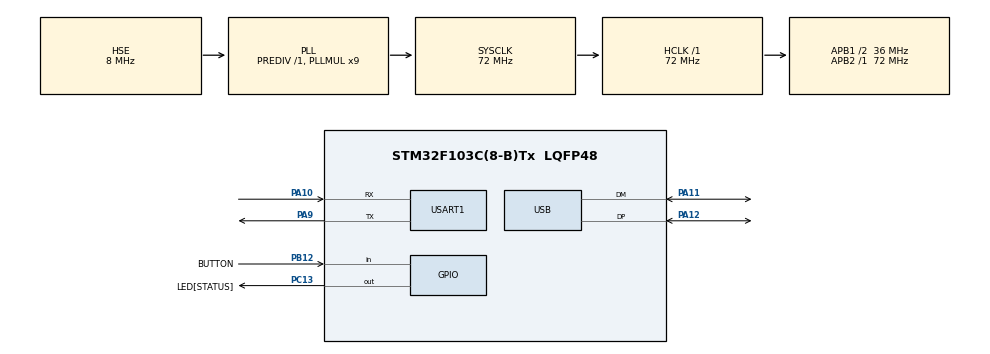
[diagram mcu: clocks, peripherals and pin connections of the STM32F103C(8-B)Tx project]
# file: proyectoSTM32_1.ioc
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Mcu.Family=STM32F1
Mcu.Name=STM32F103C(8-B)Tx
Mcu.Package=LQFP48
NVIC.PriorityGroup=NVIC_PRIORITYGROUP_4
NVIC.TIM1_UP_IRQn=true\:0\:0\:false\:false\:true\:true\:true\:true
NVIC.USART1_IRQn=true\:0\:0\:false\:false\:true\:true\:true\:true
NVIC.USB_LP_CAN1_RX0_IRQn=true\:0\:0\:false\:false\:true\:true\:true\:true
PA10.Mode=Asynchronous
PA10.Signal=USART1_RX
PA11.Mode=Device
PA11.Signal=USB_DM
PA12.Mode=Device
PA12.Signal=USB_DP
PA13.Mode=Serial_Wire
PA13.Signal=SYS_JTMS-SWDIO
PA14.Mode=Serial_Wire
PA14.Signal=SYS_JTCK-SWCLK
PA9.Mode=Asynchronous
PA9.Signal=USART1_TX
PB12.GPIO_Label=BUTTON
PB12.GPIO_PuPd=GPIO_PULLUP
PB12.Signal=GPIO_Input
PC13-TAMPER-RTC.GPIO_Label=LED[STATUS]
PC13-TAMPER-RTC.PinState=GPIO_PIN_SET
PC13-TAMPER-RTC.Signal=GPIO_Output
PC14-OSC32_IN.Mode=LSE-External-Oscillator
PC14-OSC32_IN.Signal=RCC_OSC32_IN
PC15-OSC32_OUT.Mode=LSE-External-Oscillator
PC15-OSC32_OUT.Signal=RCC_OSC32_OUT
PD0-OSC_IN.Mode=HSE-External-Oscillator
PD0-OSC_IN.Signal=RCC_OSC_IN
PD1-OSC_OUT.Mode=HSE-External-Oscillator
PD1-OSC_OUT.Signal=RCC_OSC_OUT
ProjectManager.HeapSize=0x200
ProjectManager.StackSize=0x400
ProjectManager.TargetToolchain=STM32CubeIDE
RCC.AHBFreq_Value=72000000
RCC.APB1CLKDivider=RCC_HCLK_DIV2
RCC.APB1Freq_Value=36000000
RCC.APB1TimFreq_Value=72000000
RCC.APB2Freq_Value=72000000
RCC.APB2TimFreq_Value=72000000
RCC.HCLKFreq_Value=72000000
RCC.PLLMUL=RCC_PLL_MUL9
RCC.PLLSourceVirtual=RCC_PLLSOURCE_HSE
RCC.SYSCLKFreq_VALUE=72000000
RCC.SYSCLKSource=RCC_SYSCLKSOURCE_PLLCLK
RCC.USBFreq_Value=48000000
RCC.USBPrescaler=RCC_USBCLKSOURCE_PLL_DIV1_5
TIM1.Period=250
TIM1.Prescaler=71
USART1.VirtualMode=VM_ASYNC
USB_DEVICE.APP_RX_DATA_SIZE=256
USB_DEVICE.APP_TX_DATA_SIZE=256
USB_DEVICE.CLASS_NAME_FS=CDC
USB_DEVICE.PID_CDC_FS=0x5740
USB_DEVICE.VirtualMode=Cdc
USB_DEVICE.VirtualModeFS=Cdc_FS
VP_TIM1_VS_ClockSourceINT.Mode=Internal
VP_USB_DEVICE_VS_USB_DEVICE_CDC_FS.Mode=CDC_FS
board=custom

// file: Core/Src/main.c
/* USER CODE BEGIN Header */
/**
  ******************************************************************************
  * @file           : main.c
  * @brief          : Main program body
  ******************************************************************************
  * @attention
  *
  * Copyright (c) 2024 STMicroelectronics.
  * All rights reserved.
  *
  * This software is licensed under terms that can be found in the LICENSE file
  * in the root directory of this software component.
  * If no LICENSE file comes with this software, it is provided AS-IS.
  *
  ******************************************************************************
  */
/* USER CODE END Header */
#include "main.h"
#include "usb_device.h"

/* USER CODE BEGIN Includes */

#include <stdbool.h>
#include <string.h>
#include "usbd_cdc_if.h"
//#include "mbed.h"
//#include "wifi.h"
//#include "config.h"

/* USER CODE END Includes */

/* USER CODE BEGIN PTD */

typedef union {
    struct {
        uint8_t b0:1;
        uint8_t b1:1;
        uint8_t b2:1;
        uint8_t b3:1;
        uint8_t b4:1;
        uint8_t b5:1;
        uint8_t b6:1;
        uint8_t b7:1;
    } bit;
    uint8_t byte;
}_uFlag;

typedef union {
    uint8_t     u8[4];
    int8_t      i8[4];
    uint16_t    u16[2];
    int16_t     i16[2];
    uint32_t    u32;
    int32_t     i32;
    float       f;
}_work;

typedef enum{
    START,
    HEADER_1,
    HEADER_2,
    HEADER_3,
    NBYTES,
    TOKEN,
    PAYLOAD
}_eProtocol;

typedef struct{
    //uint8_t timeOut;         //!< TiemOut para reiniciar la máquina si se interrumpe la comunicación
    uint8_t indexStart;      //!< Indice para saber en que parte del buffer circular arranca el ID
    uint8_t cheksumRx;       //!< Cheksumm RX
    uint8_t indexWriteRx;    //!< Indice de escritura del buffer circular de recepción
    uint8_t indexReadRx;     //!< Indice de lectura del buffer circular de recepción
    uint8_t indexWriteTx;    //!< Indice de escritura del buffer circular de transmisión
    uint8_t indexReadTx;     //!< Indice de lectura del buffer circular de transmisión
    uint8_t bufferRx[256];   //!< Buffer circular de recepción
    uint8_t bufferTx[256];   //!< Buffer circular de transmisión
}_sDato ;

typedef enum{
	USART,
	WIFI,
	USB_MICRO
}_eCommunicationProtocols;

typedef enum{
    ACK=0x0D,
    GETALIVE=0xF0,
    STARTCONFIG=0xEE,
    FIRMWARE=0xF1,
    LEDS=0x10,
    PULSADORES=0x12,
    SERVO = 0xA2,
    ULTRASONIDO = 0xA3,
    SEGUIDORES_LINEA = 0xA0,
    TEST_MOTORES = 0xA1,
    VELOCIDAD_MOTORES = 0xA4,
    SETMINMAXSERVO = 0xA5,
    SETSENSORSBLACK = 0xA6,
    SETSENSORSWHITE = 0xA7,
    GETSERVOANGLE = 0xA8,
    OTHERS
}_eID;

//wifiData myWifiData;

typedef enum {
    EV_PRESSED=0,
    EV_NOT_PRESSED=1,
    EV_NONE=2
}_eButtonEvent;

typedef enum {
        UP,
        DOWN,
        FALLING,
        RISING
}_eButtonsStatus;

typedef struct {
    _eButtonsStatus    	estado;
    _eButtonEvent       event;
    uint32_t            timePush;
    uint32_t            timeDiff;
} _sButton;

typedef enum {
    ONESECOND = 0,
    THREESECONDS = 1
}_eLedStatus;

typedef enum {
    WORKING = 1,
    RESTING = 0
}_eCarStatus;

typedef enum {
    IDLE = 0,
    MODE1 = 1,
    MODE2 = 2,
    MODE3 = 3
}_eCarMode;

/* USER CODE END PTD */

/* USER CODE BEGIN PD */

#define THREESECONDSINTERVAL        29
#define ONESECONDINTERVAL           9

#define NUMBUTTONS                  1

#define RINGBUFFLENGTH              256
#define POSID                       4
#define POSDATA                     5

#define	LEDMODE                     myFlags0.bit.b0
#define CARSTATUS                  	myFlags0.bit.b1

#define EQ5000MS					20000
#define EQ3000MS					12000
#define EQ1000MS					4000
#define EQ100MS						400					//TIM1 250us por cuenta, que equivale a 0,25 ms, entonces 400 cuentas -> 100ms
#define EQ20MS						80

//
/* USER CODE END PD */

TIM_HandleTypeDef htim1;

UART_HandleTypeDef huart1;

/* USER CODE BEGIN PV */

uint8_t		mode;
uint8_t		HBintervalWidth;
uint16_t	time100ms;
uint8_t		time20ms;
uint32_t 	mask;

uint8_t 	posicionComand;
_eProtocol 	protocolStatus;
_sDato 		datosComSerie, datosComWifi, datosComUSB;
//Wifi 		myWifi(datosComWifi.bufferRx,&datosComWifi.indexWriteRx, sizeof(datosComWifi.bufferRx));

_uFlag		myFlags0;
_sButton 	myButtons[NUMBUTTONS];

/* USER CODE END PV */

void SystemClock_Config(void);
static void MX_GPIO_Init(void);
static void MX_TIM1_Init(void);
static void MX_USART1_UART_Init(void);
/* USER CODE BEGIN PFP */

void heartBeat();
void ledStatus();
void imAlive();

void buttonsStatus(_sButton *buttons, uint8_t index);
void inicializaButtons(_sButton *buttons);
void debounceTask();

void decodeProtocol(_sDato *);
void decodeData(_sDato *, uint8_t COMAND);
void communicationTask(_sDato *datosCom, uint8_t source);
void autoConnectWifi(void);
void USBReceive(uint8_t *buf, uint16_t len);	//Misma estructura que el puntero a funcion creado en usbd_cdc_if.h

//int Decode(uint8_t index);
//void decodeData(uint8_t comand);

/* USER CODE END PFP */

/* USER CODE BEGIN 0 */
void HAL_TIM_PeriodElapsedCallback(TIM_HandleTypeDef *htim){
	if(htim->Instance == TIM1){
		if (time100ms)
			time100ms--;
		if (time20ms)
			time20ms--;
		if (myButtons[0].timePush < EQ5000MS)
			myButtons[0].timePush++;
	}
}

void USBReceive(uint8_t *buf, uint16_t len){
	memcpy(&datosComUSB.bufferRx[datosComUSB.indexWriteRx], buf, len);
	datosComUSB.indexWriteRx += len;
}

void HAL_UART_RxCpltCallback(UART_HandleTypeDef *huart){
	if(huart->Instance==USART1){
		datosComSerie.indexWriteRx++;
		HAL_UART_Receive_IT(&huart1, &datosComSerie.bufferRx[datosComSerie.indexWriteRx], 1);
	}
}

void heartBeat() {
	static uint8_t move=0;	//Ultima modificacion
	if ((~mask) & (1<<move)) {
		HAL_GPIO_WritePin(LED_GPIO_Port, LED_Pin, 1);
	} else {
		HAL_GPIO_WritePin(LED_GPIO_Port, LED_Pin, 0);	//Prende el led
	}
	move++;
	if (move > HBintervalWidth)
		move = 0;
}

void ledStatus() {
    switch (mode) {
        case 0:
            HBintervalWidth = THREESECONDSINTERVAL;
            mask = 0x55555555;
            break;
        case 1:
            if (LEDMODE == THREESECONDS) {
                if (CARSTATUS) {
                    HBintervalWidth = THREESECONDSINTERVAL;
                    mask = 0x5F;
                } else {
                    HBintervalWidth = THREESECONDSINTERVAL;
                    mask = 1;
                }
            } else {
                HBintervalWidth = ONESECONDINTERVAL;
                mask = 1;
            }
            break;
        case 2:
            if (LEDMODE == THREESECONDS) {
                if (CARSTATUS) {
                    HBintervalWidth = THREESECONDSINTERVAL;
                    mask = 0x15F;
                } else {
                    HBintervalWidth = THREESECONDSINTERVAL;
                    mask = 5;
                }
            } else {
                HBintervalWidth = ONESECONDINTERVAL;
                mask = 5;
            }
            break;
        case 3:
            if (LEDMODE == THREESECONDS) {
                if (CARSTATUS) {
                    HBintervalWidth = THREESECONDSINTERVAL;
                    mask = 0x55F;
                } else {
                    HBintervalWidth = THREESECONDSINTERVAL;
                    mask = 21;
                }
            } else {
                HBintervalWidth = ONESECONDINTERVAL;
                mask = 21;
            }
    }
}

void imAlive() {
	//decodeData(&datosComSerie, GETALIVE);
	//decodeData(&datosComUSB, GETALIVE);
}

void buttonsStatus(_sButton *buttons, uint8_t index) {
    switch(buttons->estado){
        case UP:
            if (buttons->event == EV_PRESSED) {
                buttons->estado = FALLING;
            }
        break;
        case DOWN:
            if (buttons->event == EV_NOT_PRESSED) {
                buttons->estado = RISING;
            } else {
				if ((CARSTATUS == WORKING) && (buttons->timePush > EQ3000MS)) { // SE DETIENE EL MODO, LED EN PERIODO DE 3 SEGUNDOS. MAS DE 3000ms
					LEDMODE = THREESECONDS;
					CARSTATUS = RESTING;
					ledStatus();
				} else {
					if (buttons->timePush >= EQ5000MS) { // SE VUELVE AL PERIODO DE 3 SEGUNDOS Y SE CANCELA EL INICIO. MAS DE 5000ms
						LEDMODE = THREESECONDS;
						ledStatus();
					} else {
						if (buttons->timePush > EQ1000MS) { // SE MANTIENE PRESIONADO EL BOTON POR MAS DE UN SEGUNDO, EMPIEZA SECUENCIA DE 1 SEG. MAS DE 1000ms
							LEDMODE = ONESECOND;
							ledStatus();
						}
					}
				}
            }
        break;
        case FALLING:
            if (buttons->event == EV_PRESSED) {
                buttons->estado = DOWN;
                buttons->timePush = 0; // SE INICIA EL CRONOMETRO DE PULSADO
            } else {
                buttons->estado = UP;
            }
        break;
        case RISING:
            if (buttons->event == EV_NOT_PRESSED) {
                buttons->estado = UP;
                if ((CARSTATUS == RESTING) && (buttons->timePush >= EQ100MS)) { // HACE ALGO SOLO SI SE SUELTA EL BOTON PRESIONANDOLO POR MAS DE 100 MS
                    if (buttons->timePush <= EQ1000MS) { // SI SE SUELTA ENTRE 100MS Y 1000MS SE CAMBIA DE MODO
                        mode++;
                        if (mode == MODE3+1) {
                            mode = IDLE;
                        }
                        LEDMODE = THREESECONDS;
                        ledStatus();
                    } else {
                        if ((buttons->timePush < EQ5000MS) && (mode != IDLE)) { // SI EL MODO DEL AUTO NO ES IDLE SE INICIA EL MODO SELECCIONADO Y SE PONE EL LED EN MODO ON. MENOS DE 5000ms
                            LEDMODE = THREESECONDS;
                            CARSTATUS = WORKING;
                            ledStatus();
                        }
                    }
                } else {
                    if (buttons->timePush <= EQ3000MS) { // SI NO SE SUELTA DESPUES DE LOS 3000 MS SE VUELVE A TRABAJAR
                        LEDMODE = THREESECONDS;
                        ledStatus();
                    }
                }
            } else {
                buttons->estado = DOWN;
            }
        break;
    }
}

void inicializaButtons(_sButton *buttons) {
    buttons->estado = UP;
    buttons->timePush = EQ5000MS;
    buttons->event = EV_NONE;
}

void debounceTask() {
    for (uint8_t index = 0; index < NUMBUTTONS; index++){
        if (HAL_GPIO_ReadPin(BUTTON_GPIO_Port, BUTTON_Pin) & (1 << index)){
            myButtons[index].event = EV_NOT_PRESSED;
        } else {
            myButtons[index].event = EV_PRESSED;
        }
        buttonsStatus(&myButtons[index], index);
    }
}

void decodeProtocol(_sDato *datosCom) {
    static uint8_t nBytes=0;
    uint8_t indexWriteRxCopy=datosCom->indexWriteRx;

    while (datosCom->indexReadRx!=indexWriteRxCopy) {
        switch (protocolStatus) {
            case START:
                if (datosCom->bufferRx[datosCom->indexReadRx++]=='U'){
                    protocolStatus=HEADER_1;
                    datosCom->cheksumRx=0;
                }
                break;
            case HEADER_1:
                if (datosCom->bufferRx[datosCom->indexReadRx++]=='N')
                    protocolStatus=HEADER_2;
                else{
                    datosCom->indexReadRx--;
                    protocolStatus=START;
                }
                break;
            case HEADER_2:
                if (datosCom->bufferRx[datosCom->indexReadRx++]=='E')
                    protocolStatus=HEADER_3;
                else{
                    datosCom->indexReadRx--;
                    protocolStatus=START;
                }
                break;
			case HEADER_3:
				if (datosCom->bufferRx[datosCom->indexReadRx++]=='R')
					protocolStatus=NBYTES;
				else{
					datosCom->indexReadRx--;
					protocolStatus=START;
				}
				break;
            case NBYTES:
                datosCom->indexStart=datosCom->indexReadRx; // 4 posiciones mas adelante tenes el ID en nuestro caso, por los datos del numero de auto y uno mas
                posicionComand = datosCom->indexStart + POSID;
                nBytes=datosCom->bufferRx[datosCom->indexReadRx++];
                protocolStatus=TOKEN;
                break;
            case TOKEN:
                if (datosCom->bufferRx[datosCom->indexReadRx++]==':'){
                    protocolStatus=PAYLOAD;
                    datosCom->cheksumRx ='U'^'N'^'E'^'R'^nBytes^':';
                }
                else{
                    datosCom->indexReadRx--;
                    protocolStatus=START;
                }
                break;
            case PAYLOAD:
                if (nBytes>1){
                    datosCom->cheksumRx ^= datosCom->bufferRx[datosCom->indexReadRx++];
                }
                nBytes--;
                if(nBytes<=0){
                    protocolStatus=START;
                    if(datosCom->cheksumRx == datosCom->bufferRx[datosCom->indexReadRx]){
                        decodeData(datosCom, datosCom->bufferRx[posicionComand]); //!< PASO LA ESTRUCTURA DATOSCOM Y PASO EL COMANDO
                    }
                }
                break;
            default:
                protocolStatus = START;
                break;
        }
    }
}

void decodeData(_sDato *datosCom, uint8_t COMAND) {
    //wifiData *wifidataPtr;
    //uint8_t *ptr;
    uint8_t auxBuffTx[50], indiceAux=0, cheksum, sizeWifiData, indexBytesToCopy=0, numBytesToCopy=0;
    uint8_t QtAngle = 0, configModo = 0;  //i = 0
    _work w;

    auxBuffTx[indiceAux++]='U';
    auxBuffTx[indiceAux++]='N';
    auxBuffTx[indiceAux++]='E';
    auxBuffTx[indiceAux++]='R';
    auxBuffTx[indiceAux++]=0;
    auxBuffTx[indiceAux++]=':';
    auxBuffTx[indiceAux++]=0x0C;    //!< NUMERO DE AUTO
    auxBuffTx[indiceAux++]=0x00;    //!< PARA COMPLETAR EL UINT16

    switch (COMAND) { // NO BORRAR EL _sDato *datosCom de la funcion ya que se usa en el startconfig, agregar el comand solamente
        case GETALIVE:
            auxBuffTx[indiceAux++]=GETALIVE;
            auxBuffTx[indiceAux++]=ACK;
            auxBuffTx[NBYTES]=0x05;
            break;
        case STARTCONFIG: //Inicia Configuración del wifi
//            auxBuffTx[indiceAux++]=STARTCONFIG;
//            auxBuffTx[indiceAux++]=ACK;
//            auxBuffTx[NBYTES]=0x05;
//            myWifi.resetWifi();
//            sizeWifiData =sizeof(myWifiData);
//            indexBytesToCopy=datosCom->indexStart+POSDATA;
//            wifidataPtr=&myWifiData;
//            if ((RINGBUFFLENGTH - indexBytesToCopy)<sizeWifiData){
//                numBytesToCopy=RINGBUFFLENGTH-indexBytesToCopy;
//                memcpy(wifidataPtr,&datosCom->bufferRx[indexBytesToCopy], numBytesToCopy);
//                indexBytesToCopy+=numBytesToCopy;
//                sizeWifiData-=numBytesToCopy;
//                ptr= (uint8_t *)wifidataPtr + numBytesToCopy;
//                memcpy(ptr,&datosCom->bufferRx[indexBytesToCopy], sizeWifiData);
//            }else{
//                memcpy(&myWifiData,&datosCom->bufferRx[indexBytesToCopy], sizeWifiData);
//            }
//            myWifi.configWifi(&myWifiData);
            break;
        case FIRMWARE:

            break;
        case LEDS:

            break;
        case PULSADORES:
            auxBuffTx[indiceAux++]=PULSADORES;
            auxBuffTx[indiceAux++]=myButtons[0].event;
            auxBuffTx[NBYTES]=0x05;
            break;
        case SERVO:
//            if (!movingServo) {
//                QtAngle = datosCom->bufferRx[posicionComand + 1];
//                moverServo(QtAngle);
//                auxBuffTx[indiceAux++] = SERVO;
//                auxBuffTx[indiceAux++] = 0x0D;
//                auxBuffTx[NBYTES] = 0x05;
//            } else {
//                auxBuffTx[indiceAux++] = SERVO;
//                auxBuffTx[indiceAux++] = 0x0A;
//                auxBuffTx[NBYTES] = 0x05;
//            }
            break;
        case GETSERVOANGLE:
//            auxBuffTx[indiceAux++] = GETSERVOANGLE;
//            auxBuffTx[indiceAux++] = lastAngle;
//            auxBuffTx[NBYTES] = 0x05;
            break;
        case SETMINMAXSERVO:
//            configModo = datosCom->bufferRx[posicionComand + 1];
//            if (configModo) {
//                w.u8[0] = datosCom->bufferRx[posicionComand + 2];
//                w.u8[1] = datosCom->bufferRx[posicionComand + 3];
//                maxMsServo = w.u16[0];
//                w.u8[0] = datosCom->bufferRx[posicionComand + 4];
//                w.u8[1] = datosCom->bufferRx[posicionComand + 5];
//                minMsServo = w.u16[0];
//            }
//            w.u16[0] = maxMsServo;
//            auxBuffTx[indiceAux++] = SETMINMAXSERVO;
//            auxBuffTx[indiceAux++] = w.u8[0];
//            auxBuffTx[indiceAux++] = w.u8[1];
//            w.u16[0] = minMsServo;
//            auxBuffTx[indiceAux++] = w.u8[0];
//            auxBuffTx[indiceAux++] = w.u8[1];
//            auxBuffTx[NBYTES] = 0x08;
            break;
        case ULTRASONIDO:
//            w.u32 = distancia;
//            auxBuffTx[indiceAux++] = ULTRASONIDO;
//            auxBuffTx[indiceAux++] = w.u8[0];
//            auxBuffTx[indiceAux++] = w.u8[1];
//            auxBuffTx[indiceAux++] = w.u8[2];
//            auxBuffTx[indiceAux++] = w.u8[3];
//            auxBuffTx[NBYTES] = 0x08;
            break;
        case SEGUIDORES_LINEA:
//            auxBuffTx[indiceAux++] = SEGUIDORES_LINEA;
//            w.u16[0] = irSensor[0].currentValue;
//            auxBuffTx[indiceAux++] = w.u8[0];
//            auxBuffTx[indiceAux++] = w.u8[1];
//            w.u16[0] = irSensor[1].currentValue;
//            auxBuffTx[indiceAux++] = w.u8[0];
//            auxBuffTx[indiceAux++] = w.u8[1];
//            w.u16[0] = irSensor[2].currentValue;
//            auxBuffTx[indiceAux++] = w.u8[0];
//            auxBuffTx[indiceAux++] = w.u8[1];
//            auxBuffTx[NBYTES]=0x0A;
            break;
        case SETSENSORSBLACK:
//            configModo = datosCom->bufferRx[posicionComand + 1];
//            if (configModo) {
//                w.u8[0] = datosCom->bufferRx[posicionComand + 2];
//                w.u8[1] = datosCom->bufferRx[posicionComand + 3];
//                irSensor[0].blackValue = w.u16[0];
//                w.u8[0] = datosCom->bufferRx[posicionComand + 4];
//                w.u8[1] = datosCom->bufferRx[posicionComand + 5];
//                irSensor[1].blackValue = w.u16[0];
//                w.u8[0] = datosCom->bufferRx[posicionComand + 6];
//                w.u8[1] = datosCom->bufferRx[posicionComand + 7];
//                irSensor[2].blackValue = w.u16[0];
//            }
//            w.u16[0] = irSensor[0].blackValue;
//            auxBuffTx[indiceAux++] = SETSENSORSBLACK;
//            auxBuffTx[indiceAux++] = w.u8[0];
//            auxBuffTx[indiceAux++] = w.u8[1];
//            w.u16[0] = irSensor[1].blackValue;
//            auxBuffTx[indiceAux++] = w.u8[0];
//            auxBuffTx[indiceAux++] = w.u8[1];
//            w.u16[0] = irSensor[2].blackValue;
//            auxBuffTx[indiceAux++] = w.u8[0];
//            auxBuffTx[indiceAux++] = w.u8[1];
//            auxBuffTx[NBYTES] = 0x0A;
            break;
        case SETSENSORSWHITE:
//            configModo = datosCom->bufferRx[posicionComand + 1];
//            if (configModo) {
//                w.u8[0] = datosCom->bufferRx[posicionComand + 2];
//                w.u8[1] = datosCom->bufferRx[posicionComand + 3];
//                irSensor[0].whiteValue = w.u16[0];
//                w.u8[0] = datosCom->bufferRx[posicionComand + 4];
//                w.u8[1] = datosCom->bufferRx[posicionComand + 5];
//                irSensor[1].whiteValue = w.u16[0];
//                w.u8[0] = datosCom->bufferRx[posicionComand + 6];
//                w.u8[1] = datosCom->bufferRx[posicionComand + 7];
//                irSensor[2].whiteValue = w.u16[0];
//            }
//            w.u16[0] = irSensor[0].whiteValue;
//            auxBuffTx[indiceAux++] = SETSENSORSWHITE;
//            auxBuffTx[indiceAux++] = w.u8[0];
//            auxBuffTx[indiceAux++] = w.u8[1];
//            w.u16[0] = irSensor[1].whiteValue;
//            auxBuffTx[indiceAux++] = w.u8[0];
//            auxBuffTx[indiceAux++] = w.u8[1];
//            w.u16[0] = irSensor[2].whiteValue;
//            auxBuffTx[indiceAux++] = w.u8[0];
//            auxBuffTx[indiceAux++] = w.u8[1];
//            auxBuffTx[NBYTES] = 0x0A;
            break;
        case TEST_MOTORES:
//            auxBuffTx[indiceAux++] = TEST_MOTORES;
//            auxBuffTx[indiceAux++] = 0x0D;
//            auxBuffTx[NBYTES] = 0x05;
//            for (uint8_t i=1; i<5; i++) {
//                w.i8[i-1] = datosCom->bufferRx[posicionComand + i];
//            }
//            engines.RMPOWER = w.i32;
//            for (uint8_t i=5; i<9; i++) {
//                w.i8[i-5] = datosCom->bufferRx[posicionComand + i];
//            }
//            engines.LMPOWER = w.i32;
//            setEnginesPower(SELECTBOTHMOTORS, FREEWHEEL);
            break;
        case VELOCIDAD_MOTORES:
//            auxBuffTx[indiceAux++] = VELOCIDAD_MOTORES;
//            w.u32 = rightPulseSum;
//            for (uint8_t i=0; i<4; i++) {
//                auxBuffTx[indiceAux++] = w.u8[i];
//            }
//            w.u32 = leftPulseSum;
//            for (uint8_t i=0; i<4; i++) {
//                auxBuffTx[indiceAux++] = w.u8[i];
//            }
//            auxBuffTx[NBYTES] = 0x0C;
            break;

        default:
            auxBuffTx[indiceAux++]=0xFF;
            auxBuffTx[NBYTES]=0x04;
            break;
    }
    cheksum=0;
    for(uint8_t a=0 ; a<indiceAux ;a++) {
        cheksum ^= auxBuffTx[a];
        datosCom->bufferTx[datosCom->indexWriteTx++] = auxBuffTx[a];
    }
        datosCom->bufferTx[datosCom->indexWriteTx++] = cheksum;
}

void communicationTask(_sDato *datosCom, uint8_t source){
    if(datosCom->indexReadRx!=datosCom->indexWriteRx ){
        decodeProtocol(datosCom);
    }
    if(datosCom->indexReadTx!=datosCom->indexWriteTx){
    	switch (source) {
			case USART:
				if(__HAL_UART_GET_FLAG(&huart1, UART_FLAG_TXE)){
					USART1->DR = datosCom->bufferTx[datosCom->indexReadTx++];
					//HAL_UART_Transmit_IT(&huart1, &datosCom->bufferTx[datosCom->indexReadTx++], 1); //La anterior linea hace lo mismo
					//HAL_UART_Transmit(&huart1, &datosCom->bufferTx[datosCom->indexReadTx++], 1, 0);
				}
				break;
			case WIFI:
				// myWifi.writeWifiData(&datosCom->bufferTx[datosCom->indexReadTx++],1);
				break;
			case USB_MICRO:
				//CDC_Transmit_FS(&rxUSBData, 1);
				if(CDC_Transmit_FS(&datosCom->bufferTx[datosCom->indexReadTx], 1) == USBD_OK)
					datosCom->indexReadTx++;
				break;
			default:
				break;
		}
    }
}

void autoConnectWifi(){
//    #ifdef AUTOCONNECTWIFI
//        memcpy(&myWifiData.cwmode, dataCwmode, sizeof(myWifiData.cwmode));
//        memcpy(&myWifiData.cwdhcp,dataCwdhcp, sizeof(myWifiData.cwdhcp) );
//        memcpy(&myWifiData.cwjap,dataCwjap, sizeof(myWifiData.cwjap) );
//        memcpy(&myWifiData.cipmux,dataCipmux, sizeof(myWifiData.cipmux) );
//        memcpy(&myWifiData.cipstart,dataCipstart, sizeof(myWifiData.cipstart) );
//        memcpy(&myWifiData.cipmode,dataCipmode, sizeof(myWifiData.cipmode) );
//        memcpy(&myWifiData.cipsend,dataCipsend, sizeof(myWifiData.cipsend) );
//        myWifi.configWifi(&myWifiData);
//    #endif
}
/* USER CODE END 0 */

int main(void)
{

  /* MCU Configuration--------------------------------------------------------*/

  /* Reset of all peripherals, Initializes the Flash interface and the Systick. */
  HAL_Init();

  /* Configure the system clock */
  SystemClock_Config();

  /* Initialize all configured peripherals */
  MX_GPIO_Init();
  MX_TIM1_Init();
  MX_USART1_UART_Init();
  MX_USB_DEVICE_Init();
  /* USER CODE BEGIN 2 */
  CDC_AttachRxData(USBReceive); // Se hace un attach a la funcion USBReceive
  HAL_TIM_Base_Start_IT(&htim1);
  HAL_UART_Receive_IT(&huart1, &datosComSerie.bufferRx[datosComSerie.indexWriteRx], 1);
  //USBD_CDC_SetTxBuffer(&hUsbDeviceFS, &datosComUSB.bufferRx[datosComSerie.indexWriteRx], 0);
  //USBD_CDC_SetRxBuffer(&hUsbDeviceFS, &datosComUSB.bufferTx[datosComSerie.indexWriteRx]);

  time100ms = EQ100MS;
  time20ms = EQ20MS;
  LEDMODE = THREESECONDS;
  mask = 0x55555555;
  HBintervalWidth = THREESECONDSINTERVAL;

  mode=IDLE;
  CARSTATUS=RESTING;

  for (uint8_t index = 0; index < NUMBUTTONS; index++) {
	  inicializaButtons(&myButtons[index]);
  }

  /* USER CODE END 2 */

  /* Infinite loop */
  while (1)
  {

    /* USER CODE BEGIN 3 */
	if (!time100ms) {
		heartBeat();
		imAlive();
		time100ms = EQ100MS;
	}
	if (!time20ms) {
		debounceTask();
		time20ms = EQ20MS;
	}
	//myWifi.taskWifi();
	communicationTask(&datosComSerie, USART);
	communicationTask(&datosComWifi, WIFI);
	communicationTask(&datosComUSB, USB_MICRO);
  }
  /* USER CODE END 3 */
}

void SystemClock_Config(void)
{
  RCC_OscInitTypeDef RCC_OscInitStruct = {0};
  RCC_ClkInitTypeDef RCC_ClkInitStruct = {0};
  RCC_PeriphCLKInitTypeDef PeriphClkInit = {0};

  /** Initializes the RCC Oscillators according to the specified parameters
  * in the RCC_OscInitTypeDef structure.
  */
  RCC_OscInitStruct.OscillatorType = RCC_OSCILLATORTYPE_HSE;
  RCC_OscInitStruct.HSEState = RCC_HSE_ON;
  RCC_OscInitStruct.HSEPredivValue = RCC_HSE_PREDIV_DIV1;
  RCC_OscInitStruct.HSIState = RCC_HSI_ON;
  RCC_OscInitStruct.PLL.PLLState = RCC_PLL_ON;
  RCC_OscInitStruct.PLL.PLLSource = RCC_PLLSOURCE_HSE;
  RCC_OscInitStruct.PLL.PLLMUL = RCC_PLL_MUL9;
  if (HAL_RCC_OscConfig(&RCC_OscInitStruct) != HAL_OK)
  {
    Error_Handler();
  }

  /** Initializes the CPU, AHB and APB buses clocks
  */
  RCC_ClkInitStruct.ClockType = RCC_CLOCKTYPE_HCLK|RCC_CLOCKTYPE_SYSCLK
                              |RCC_CLOCKTYPE_PCLK1|RCC_CLOCKTYPE_PCLK2;
  RCC_ClkInitStruct.SYSCLKSource = RCC_SYSCLKSOURCE_PLLCLK;
  RCC_ClkInitStruct.AHBCLKDivider = RCC_SYSCLK_DIV1;
  RCC_ClkInitStruct.APB1CLKDivider = RCC_HCLK_DIV2;
  RCC_ClkInitStruct.APB2CLKDivider = RCC_HCLK_DIV1;

  if (HAL_RCC_ClockConfig(&RCC_ClkInitStruct, FLASH_LATENCY_2) != HAL_OK)
  {
    Error_Handler();
  }
  PeriphClkInit.PeriphClockSelection = RCC_PERIPHCLK_USB;
  PeriphClkInit.UsbClockSelection = RCC_USBCLKSOURCE_PLL_DIV1_5;
  if (HAL_RCCEx_PeriphCLKConfig(&PeriphClkInit) != HAL_OK)
  {
    Error_Handler();
  }
}

static void MX_TIM1_Init(void)
{

  TIM_ClockConfigTypeDef sClockSourceConfig = {0};
  TIM_MasterConfigTypeDef sMasterConfig = {0};

  htim1.Instance = TIM1;
  htim1.Init.Prescaler = 71;
  htim1.Init.CounterMode = TIM_COUNTERMODE_UP;
  htim1.Init.Period = 250;
  htim1.Init.ClockDivision = TIM_CLOCKDIVISION_DIV1;
  htim1.Init.RepetitionCounter = 0;
  htim1.Init.AutoReloadPreload = TIM_AUTORELOAD_PRELOAD_DISABLE;
  if (HAL_TIM_Base_Init(&htim1) != HAL_OK)
  {
    Error_Handler();
  }
  sClockSourceConfig.ClockSource = TIM_CLOCKSOURCE_INTERNAL;
  if (HAL_TIM_ConfigClockSource(&htim1, &sClockSourceConfig) != HAL_OK)
  {
    Error_Handler();
  }
  sMasterConfig.MasterOutputTrigger = TIM_TRGO_RESET;
  sMasterConfig.MasterSlaveMode = TIM_MASTERSLAVEMODE_DISABLE;
  if (HAL_TIMEx_MasterConfigSynchronization(&htim1, &sMasterConfig) != HAL_OK)
  {
    Error_Handler();
  }

}

static void MX_USART1_UART_Init(void)
{

  huart1.Instance = USART1;
  huart1.Init.BaudRate = 115200;
  huart1.Init.WordLength = UART_WORDLENGTH_8B;
  huart1.Init.StopBits = UART_STOPBITS_1;
  huart1.Init.Parity = UART_PARITY_NONE;
  huart1.Init.Mode = UART_MODE_TX_RX;
  huart1.Init.HwFlowCtl = UART_HWCONTROL_NONE;
  huart1.Init.OverSampling = UART_OVERSAMPLING_16;
  if (HAL_UART_Init(&huart1) != HAL_OK)
  {
    Error_Handler();
  }

}

static void MX_GPIO_Init(void)
{
  GPIO_InitTypeDef GPIO_InitStruct = {0};

  /* GPIO Ports Clock Enable */
  __HAL_RCC_GPIOC_CLK_ENABLE();
  __HAL_RCC_GPIOD_CLK_ENABLE();
  __HAL_RCC_GPIOB_CLK_ENABLE();
  __HAL_RCC_GPIOA_CLK_ENABLE();

  /*Configure GPIO pin Output Level */
  HAL_GPIO_WritePin(LED_GPIO_Port, LED_Pin, GPIO_PIN_SET);

  /*Configure GPIO pin : LED_Pin */
  GPIO_InitStruct.Pin = LED_Pin;
  GPIO_InitStruct.Mode = GPIO_MODE_OUTPUT_PP;
  GPIO_InitStruct.Pull = GPIO_NOPULL;
  GPIO_InitStruct.Speed = GPIO_SPEED_FREQ_LOW;
  HAL_GPIO_Init(LED_GPIO_Port, &GPIO_InitStruct);

  /*Configure GPIO pin : BUTTON_Pin */
  GPIO_InitStruct.Pin = BUTTON_Pin;
  GPIO_InitStruct.Mode = GPIO_MODE_INPUT;
  GPIO_InitStruct.Pull = GPIO_PULLUP;
  HAL_GPIO_Init(BUTTON_GPIO_Port, &GPIO_InitStruct);

}

void Error_Handler(void)
{
  __disable_irq();
  while (1)
  {
  }
}
